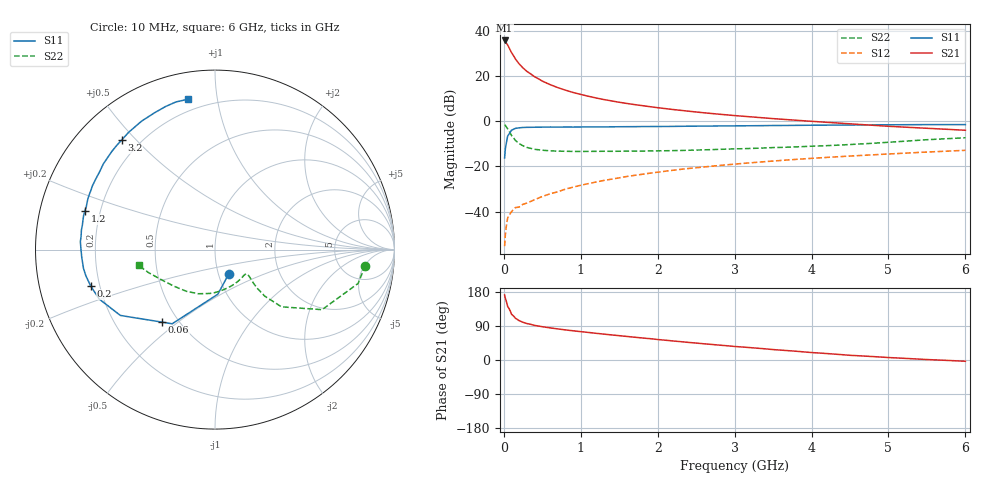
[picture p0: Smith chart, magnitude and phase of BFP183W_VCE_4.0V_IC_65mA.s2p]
! (c) 2017  Infineon Technologies AG, Munich
! Infineon Technologies  Discrete & RF Semiconductors
! BFP183W
! VCE =  4.0 V,  IC =  65 mA
! Common Emitter S-Parameters:  Jan 2017
# GHz  S  MA  R  50
!  f  S11  S21  S12  S22
! GHz  MAG  ANG  MAG  ANG  MAG  ANG  MAG  ANG
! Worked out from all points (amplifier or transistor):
!   77 points, 10 MHz to 6 GHz, reference 50 ohm
!   highest |S21| = 36.0 dB at 10 MHz (marker M1)
!   |S21| within 3 dB of that: start of sweep to 64.7 MHz
!   unconditionally stable (mu >= 1): start of sweep to 13.7 MHz; 336 MHz to 4.393 GHz
!   at 130 MHz: K = 0.58, MSG = 33.9 dB, |S12| = -38.9 dB
!   at 2.2 GHz: K = 1.20, MAG = 10.8 dB, |S12| = -21.7 dB
!   at 6 GHz: K = 0.94, MSG = 4.5 dB, |S12| = -12.8 dB
!   S11 on the Smith chart (normalised r, x): 10 MHz: 1.12, -0.31; 60 MHz: 0.41, -0.44; 200 MHz: 0.16, -0.14; 1.2 GHz: 0.14, +0.14; 3.2 GHz: 0.13, +0.45; 6 GHz: 0.14, +0.83
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0.01  0.1547 -59.9  62.82 171.6  0.0017 79.5  0.8423 -6.1
0.02  0.2489 -86.3  60.61 162.5  0.0031 81.5  0.8194 -13.3
0.05  0.4772 -120.0  49.69 141.1  0.0072 58.7  0.684 -29.3
0.06  0.501 -126.3  46.12 138.2  0.0077 56.9  0.6433 -31.0
0.1  0.6424 -145.2  33.67 120.6  0.0099 51.5  0.4885 -40.7
0.15  0.7016 -156.9  24.43 110.3  0.0122 47.2  0.38 -43.1
0.2  0.7218 -163.7  18.9 103.8  0.0126 48.9  0.3217 -42.5
0.25  0.7343 -168.6  15.37 99.4  0.0145 51.0  0.2872 -41.3
0.3  0.7402 -171.9  12.9 96.2  0.0154 51.9  0.2646 -39.8
0.4  0.7438 -176.9  9.809 91.3  0.0183 57.8  0.2407 -38.0
0.5  0.747 179.6  7.869 87.8  0.0216 60.6  0.2298 -37.3
0.7  0.7497 174.3  5.647 82.1  0.0274 66.0  0.2191 -38.0
0.9  0.7513 169.5  4.396 77.1  0.0347 67.8  0.2161 -41.2
1.1  0.7562 165.5  3.619 72.7  0.0417 69.4  0.2163 -44.7
1.2  0.7562 163.5  3.318 70.4  0.0452 69.6  0.2168 -46.6
1.6  0.7647 156.3  2.506 62.1  0.06 69.6  0.2188 -55.8
2.1  0.7737 147.4  1.927 52.2  0.0786 68.6  0.2234 -69.6
3.1  0.7996 132.0  1.309 34.3  0.1166 62.9  0.2481 -99.5
3.2  0.8019 130.5  1.269 32.7  0.1205 62.3  0.2509 -102.4
4.1  0.8256 118.5  0.981 18.4  0.1553 55.9  0.2855 -127.5
5.1  0.8445 108.2  0.765 5.5  0.1932 48.3  0.3537 -153.5
6  0.8511 100.3  0.637 -3.4  0.2285 40.9  0.4344 -168.3
